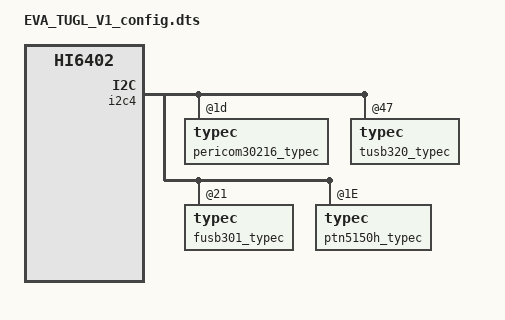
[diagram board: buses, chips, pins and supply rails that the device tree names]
/**
 * Huawei Ltd.
 * PhosphorV660
 */

/dts-v1/;

/include/ "fastboot.dtsi"
/include/ "EVA_TUGL_V0_config.dtsi"
/include/ "EVA_TUGL_V1_pin.dtsi"
/include/ "EVA_TUGL_V1_modem_pin.dtsi"
/include/ "EVA_TUGL_V1_hi6402_pin.dtsi"

/{
	hisi,modem_id = <0x3C010400>;
	hisi,boardid = <3 5 6 1>;
	hisi,boardname = "EVA_TUGL_V1";
	amba{
		i2c4: i2c@FDF0D000{
			pericom30216_typec: typec@1d {
				pericom30216_gpio_enb = <1>;
				status = "ok";
			};
			tusb320_typec: typec@47 {
				tusb320_gpio_enb = <1>;
				tusb320_mdelay = <100>;
				status = "ok";
			};
			fusb301_typec: typec@21 {
				fusb301_gpio_enb = <1>;
				status = "ok";
			};
			ptn5150h_typec: typec@1E {
				ptn5150h_gpio_enb = <1>;
				status = "ok";
			};
		};
	};
};
